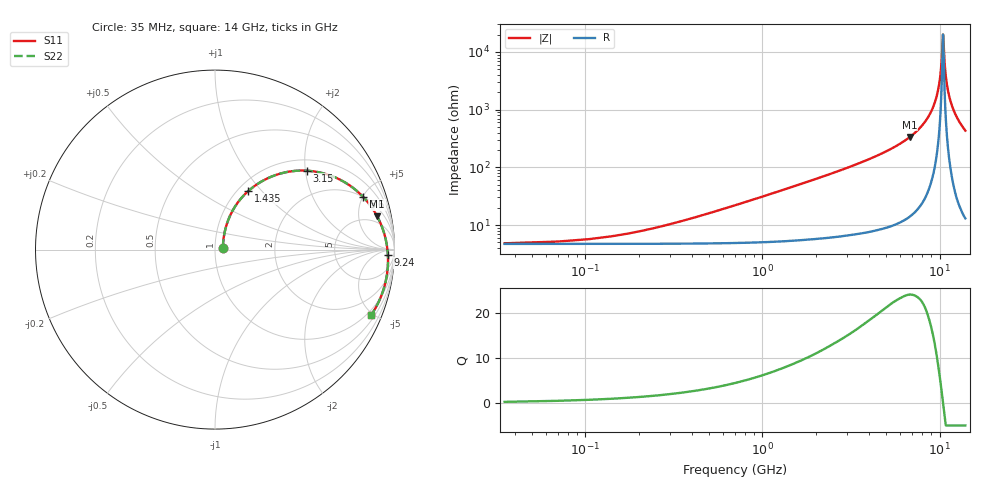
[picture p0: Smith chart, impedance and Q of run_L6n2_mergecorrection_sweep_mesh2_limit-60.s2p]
#  Hz  S  RI  R  50
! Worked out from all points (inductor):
!   400 points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, 35 MHz to 14 GHz, reference 50 ohm
!   read as one part in series: L = 4.85 nH near 490 MHz
!   highest Q = 24 at 6.79 GHz (marker M1), where L = 7.84 nH
!   self-resonance near 10.46 GHz
!   S11 on the Smith chart (normalised r, x): 35 MHz: 1.09, +0.02; 1.435 GHz: 1.12, +0.85; 3.15 GHz: 1.26, +2.05; 5.6 GHz: 2.00, +5.07; 9.24 GHz: 32, -27; 14 GHz: 0.73, -4.87
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3.5e7  0.044 0.00901  0.954 -0.0105  0.954 -0.0105  0.044 0.00901
6.3e8  0.0717 0.1597  0.9162 -0.1797  0.9162 -0.1797  0.0717 0.1596
1.435e9  0.1854 0.3262  0.7939 -0.3521  0.7939 -0.3521  0.1853 0.3262
2.38e9  0.3682 0.4247  0.6081 -0.4603  0.6081 -0.4603  0.3681 0.4247
3.15e9  0.5136 0.4395  0.4617 -0.483  0.4616 -0.483  0.5135 0.4395
4.69e9  0.7381 0.3658  0.235 -0.4265  0.235 -0.4265  0.738 0.3658
5.6e9  0.8269 0.2921  0.145 -0.3632  0.145 -0.3632  0.8268 0.2922
6.79e9  0.9034 0.1858  0.0669 -0.2706  0.0668 -0.2707  0.9033 0.1859
7.035e9  0.9146 0.1636  0.0554 -0.2513  0.0553 -0.2513  0.9146 0.1637
8.33e9  0.9532 0.0481  0.0149 -0.1511  0.0148 -0.1511  0.9531 0.0483
9.24e9  0.9633 -0.0294  0.00329 -0.0844  0.00323 -0.0844  0.9633 -0.0292
9.345e9  0.9637 -0.0381  0.0027 -0.0769  0.00263 -0.0769  0.9637 -0.0379
9.765e9  0.9639 -0.0724  0.00174 -0.0476  0.00166 -0.0476  0.9639 -0.0722
1.008e10  0.9627 -0.0975  0.00241 -0.0263  0.00233 -0.0263  0.9627 -0.0973
1.0255e10  0.9616 -0.1112  0.00326 -0.0147  0.00318 -0.0147  0.9616 -0.111
1.0465e10  0.9597 -0.1275  0.0047 -0.000938  0.00461 -0.000935  0.9598 -0.1273
1.0675e10  0.9574 -0.1436  0.00659 0.0126  0.0065 0.0126  0.9574 -0.1433
1.0885e10  0.9547 -0.1594  0.00892 0.0259  0.00882 0.0259  0.9547 -0.1591
1.1235e10  0.9492 -0.1851  0.0138 0.0475  0.0137 0.0475  0.9492 -0.1849
1.169e10  0.9403 -0.2177  0.0217 0.0745  0.0216 0.0745  0.9404 -0.2174
1.2635e10  0.9164 -0.2816  0.0436 0.127  0.0435 0.127  0.9165 -0.2812
1.4e10  0.87 -0.3648  0.0866 0.1935  0.0864 0.1936  0.8703 -0.3644
